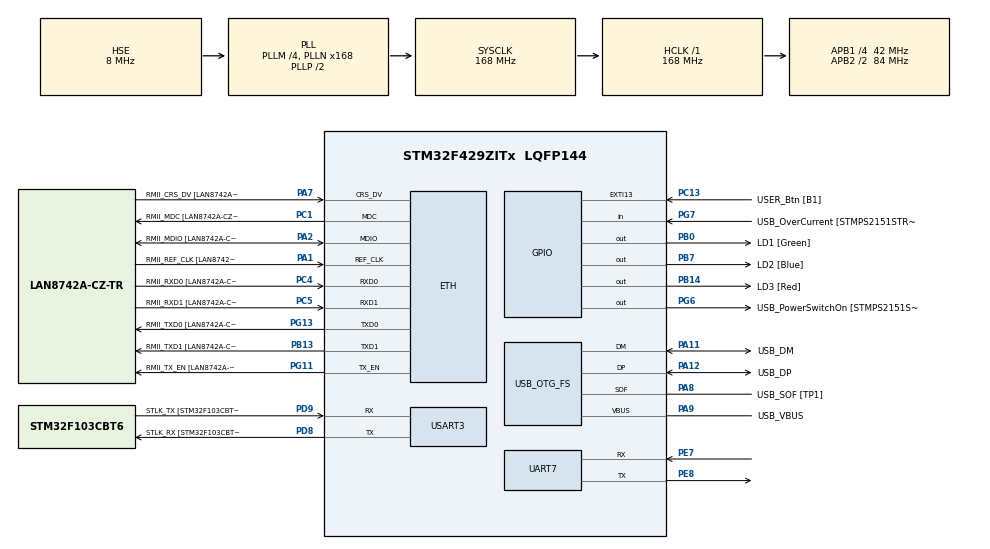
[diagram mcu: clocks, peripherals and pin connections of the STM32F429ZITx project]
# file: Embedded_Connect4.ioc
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Mcu.Family=STM32F4
FREERTOS.Queues01=app_queue,16,uint16_t,0,Dynamic,NULL,NULL;display_queue,16,uint16_t,0,Dynamic,NULL,NULL
RCC.CortexFreq_Value=168000000
FREERTOS.BinarySemaphores01=start_signal,Dynamic,NULL;reset_signal,Dynamic,NULL;game_end_anim,Dynamic,NULL;valid_anim,Dynamic,NULL
PG6.Signal=GPIO_Output
PB14.GPIO_Label=LD3 [Red]
PG6.GPIO_Label=USB_PowerSwitchOn [STMPS2151STR_EN]
PA14.GPIO_Label=TCK
RCC.SYSCLKSourceVirtual=RCC_SYSCLKSOURCE_PLLCLK
PA11.Mode=Device_Only
PB0.GPIO_Label=LD1 [Green]
PC14/OSC32_IN.Mode=LSE-External-Oscillator
PC5.Mode=RMII
PC13.GPIO_Label=USER_Btn [B1]
PB13.GPIO_Label=RMII_TXD1 [LAN8742A-CZ-TR_TXD1]
PB13.Signal=ETH_TXD1
PG13.Signal=ETH_TXD0
PD9.Mode=Asynchronous
PG11.Signal=ETH_TX_EN
RCC.SYSCLKSource=RCC_SYSCLKSOURCE_PLLCLK
ProjectManager.StackSize=0x400
VP_FREERTOS_VS_CMSIS_V2.Mode=CMSIS_V2
PA12.Signal=USB_OTG_FS_DP
ETH.PHY_Value=0
PH0/OSC_IN.Mode=HSE-External-Clock-Source
RCC.HCLKFreq_Value=168000000
RCC.APB2TimFreq_Value=168000000
PH1/OSC_OUT.Signal=RCC_OSC_OUT
PD8.Signal=USART3_TX
RCC.AHBFreq_Value=168000000
NVIC.EXTI15_10_IRQn=true\:5\:0\:false\:false\:true\:true\:true\:true
RCC.HSE_VALUE=8000000
RCC.PLLMUL=RCC_PLL_MUL9
PC4.GPIO_Label=RMII_RXD0 [LAN8742A-CZ-TR_RXD0]
PA14.Mode=Serial_Wire
VP_SYS_VS_tim1.Mode=TIM1
PA10.GPIO_Label=USB_ID
PB7.Signal=GPIO_Output
PA8.Signal=USB_OTG_FS_SOF
PG13.Mode=RMII
ETH.PHY_Name=LAN8742A_PHY_ADDRESS
PH1/OSC_OUT.Mode=HSE-External-Clock-Source
PB7.GPIO_Label=LD2 [Blue]
Mcu.Package=LQFP144
NVIC.TimeBase=TIM1_UP_TIM10_IRQn
PC14/OSC32_IN.Signal=RCC_OSC32_IN
PA2.GPIO_Label=RMII_MDIO [LAN8742A-CZ-TR_MDIO]
NVIC.TimeBaseIP=TIM1
PA10.Signal=USB_OTG_FS_ID
USB_OTG_FS.VirtualMode=Device_Only
RCC.APB2CLKDivider=RCC_HCLK_DIV2
RCC.APB1TimFreq_Value=84000000
PG11.GPIO_Label=RMII_TX_EN [LAN8742A-CZ-TR_TXEN]
PC5.Signal=ETH_RXD1
PB13.Mode=RMII
PE7.Signal=UART7_RX
PC4.Mode=RMII
FREERTOS.Tasks01=defaultTask,24,128,StartDefaultTask,Default,NULL,Dynamic,NULL,NULL;task_read,24,128,thread_handler_input,Default,NULL,Dynamic,NULL,NULL;task_app,24,128,thread_handler_app,Default,NULL,Dynamic,NULL,NULL;task_display,8,128,thread_handler_display,Default,NULL,Dynamic,NULL,NULL;task_timer,8,128,timer_handler,Default,NULL,Dynamic,NULL,NULL
PA7.Mode=RMII
PG7.Signal=GPIO_Input
PD9.GPIO_Label=STLK_TX [STM32F103CBT6_PA2]
PC13.Signal=GPXTI13
PA9.GPIO_Label=USB_VBUS
PC4.Signal=ETH_RXD0
PA11.GPIO_Label=USB_DM
PD9.Signal=USART3_RX
UART7.VirtualMode=Asynchronous
RCC.APB1CLKDivider=RCC_HCLK_DIV4
PG13.GPIO_Label=RMII_TXD0 [LAN8742A-CZ-TR_TXD0]
ETH.PhyAddress=0
PA12.GPIO_Label=USB_DP
PD8.GPIO_Label=STLK_RX [STM32F103CBT6_PA3]
PE8.Mode=Asynchronous
PA9.Mode=Activate_VBUS
PA8.GPIO_Label=USB_SOF [TP1]
ProjectManager.TargetToolchain=TrueSTUDIO
PA9.Signal=USB_OTG_FS_VBUS
RCC.USBFreq_Value=48000000
PD8.Mode=Asynchronous
PA1.Signal=ETH_REF_CLK
PB14.Signal=GPIO_Output
board=NUCLEO-F429ZI
RCC.VCOOutputFreq_Value=336000000
PH0/OSC_IN.Signal=RCC_OSC_IN
RCC.APB2Freq_Value=84000000
PA1.Mode=RMII
RCC.PRESCALERUSB=RCC_USBCLKSOURCE_PLL_DIV1_5
PE8.Signal=UART7_TX
PG7.GPIO_Label=USB_OverCurrent [STMPS2151STR_FAULT]
PA1.GPIO_Label=RMII_REF_CLK [LAN8742A-CZ-TR_REFCLK0]
PC1.GPIO_Label=RMII_MDC [LAN8742A-CZ-TR_MDC]
Mcu.Name=STM32F429ZITx
PA2.Signal=ETH_MDIO
RCC.APB2TimCLKDivider=2
RCC.48MHZClocksFreq_Value=48000000
RCC.SYSCLKFreq_VALUE=168000000
PE7.Mode=Asynchronous
ETH.MediaInterface=ETH_MEDIA_INTERFACE_RMII
PA7.GPIO_Label=RMII_CRS_DV [LAN8742A-CZ-TR_CRS_DV]
PA12.Mode=Device_Only
PC5.GPIO_Label=RMII_RXD1 [LAN8742A-CZ-TR_RXD1]
USART3.VirtualMode=VM_ASYNC
PC15/OSC32_OUT.Mode=LSE-External-Oscillator
PG11.Mode=RMII
PA11.Signal=USB_OTG_FS_DM
PA14.Signal=SYS_JTCK-SWCLK
ProjectManager.HeapSize=0x200
NVIC.TIM1_UP_TIM10_IRQn=true\:0\:0\:false\:false\:true\:false\:false\:true
RCC.HSI_VALUE=16000000
PH0/OSC_IN.GPIO_Label=MCO [STM32F103CBT6_PA8]
RCC.PLLQ=7
NVIC.PriorityGroup=NVIC_PRIORITYGROUP_4
RCC.PLLM=4
RCC.PLLN=168
PA2.Mode=RMII
PC15/OSC32_OUT.Signal=RCC_OSC32_OUT
PA8.Mode=Activate_SOF_FS
RCC.APB1Freq_Value=42000000
PB0.Signal=GPIO_Output
PC1.Signal=ETH_MDC
PC1.Mode=RMII
PA7.Signal=ETH_CRS_DV

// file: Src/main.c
/* USER CODE BEGIN Header */
/**
 ******************************************************************************
 * @file           : main.c
 * @brief          : Main program body
 ******************************************************************************
 * @attention
 *
 * <h2><center>&copy; Copyright (c) 2020 STMicroelectronics.
 * All rights reserved.</center></h2>
 *
 * This software component is licensed by ST under Ultimate Liberty license
 * SLA0044, the "License"; You may not use this file except in compliance with
 * the License. You may obtain a copy of the License at:
 *                             www.st.com/SLA0044
 *
 ******************************************************************************
 */
/* USER CODE END Header */

#include "main.h"
#include "cmsis_os.h"
#include "semphr.h"
#include "ctype.h"

/* USER CODE BEGIN Includes */
#include<stdio.h>
#include<stdlib.h>
#include<errno.h>
#include<string.h>

#include"queue.h"
#include"display_thread.h"
#include"read_thread.h"
#include"app_thread.h"
#include"timer_threads.h"
#include"leds_control.h"
#include"serial_thread.h"
/* USER CODE END Includes */

ETH_HandleTypeDef heth;

UART_HandleTypeDef huart3;
UART_HandleTypeDef huart7;

PCD_HandleTypeDef hpcd_USB_OTG_FS;

/* Definitions for defaultTask */
osThreadId_t serialTaskHandle;
const osThreadAttr_t serialTask_attributes = { .name = "serialTask", .priority =
		(osPriority_t) osPriorityNormal, .stack_size = 128 * 4 };
/* Definitions for task_read */
osThreadId_t task_readHandle;
const osThreadAttr_t task_read_attributes = { .name = "task_read", .priority =
		(osPriority_t) osPriorityNormal, .stack_size = 128 * 4 };
/* Definitions for task_app */
osThreadId_t task_appHandle;
const osThreadAttr_t task_app_attributes = { .name = "task_app", .priority =
		(osPriority_t) osPriorityNormal, .stack_size = 128 * 4 };
/* Definitions for task_display */
osThreadId_t task_displayHandle;
const osThreadAttr_t task_display_attributes = { .name = "task_display",
		.priority = (osPriority_t) osPriorityNormal, .stack_size = 128 * 4 };
/* Definitions for task_timer */
osThreadId_t task_timerHandle;
const osThreadAttr_t task_timer_attributes = { .name = "task_timer", .priority =
		(osPriority_t) osPriorityNormal, .stack_size = 128 * 4 };
/* Definitions for app_queue */
osMessageQueueId_t app_queueHandle;
const osMessageQueueAttr_t app_queue_attributes = { .name = "app_queue" };
/* Definitions for display_queue */
osMessageQueueId_t display_queueHandle;
const osMessageQueueAttr_t display_queue_attributes =
		{ .name = "display_queue" };
/* Definitions for send */
osMessageQueueId_t sendToSerialHandle;
const osMessageQueueAttr_t sendToSerial_attributes = { .name = "sendToSerial" };
/* Definitions for read */
osMessageQueueId_t readFromSerialHandle;
const osMessageQueueAttr_t readFromSerial_attributes = { .name =
		"readFromSerial" };
/* Definitions for start_signal */
SemaphoreHandle_t start_signalHandle;

/* Definitions for reset_signal */
SemaphoreHandle_t reset_signalHandle;

/* Definitions for game_end_anim */
SemaphoreHandle_t game_end_animHandle;

/* Definitions for valid_anim */
SemaphoreHandle_t valid_animHandle;

/* USER CODE BEGIN PV */
osMutexId_t timer_mutexHandle;
const osMutexAttr_t timer_mutex_attributes = { .name = "timer_mutex" };
/* USER CODE END PV */

void SystemClock_Config(void);
static void MX_GPIO_Init(void);
static void MX_ETH_Init(void);
static void MX_USART3_UART_Init(void);
static void MX_UART7_Init(void);
static void MX_USB_OTG_FS_PCD_Init(void);
static void MX_NVIC_Init(void);
void StartDefaultTask(void *argument);

int main(void) {

	/* MCU Configuration--------------------------------------------------------*/

	/* Reset of all peripherals, Initializes the Flash interface and the Systick. */
	HAL_Init();

	/* Configure the system clock */
	SystemClock_Config();

	/* Initialize all configured peripherals */
	MX_GPIO_Init();
	MX_ETH_Init();
	MX_USART3_UART_Init();
	MX_UART7_Init();
	MX_USB_OTG_FS_PCD_Init();
	/* USER CODE BEGIN 2 */
	MX_NVIC_Init();
	/* USER CODE END 2 */

	/* Init scheduler */
	osKernelInitialize();

	/* Create the semaphores(s) */
	/* creation of start_signal */
	start_signalHandle = xSemaphoreCreateBinary();

	/* creation of reset_signal */
	reset_signalHandle = xSemaphoreCreateBinary();

	/* creation of game_end_anim */
	game_end_animHandle = xSemaphoreCreateBinary();

	/* creation of valid_anim */
	valid_animHandle = xSemaphoreCreateBinary();

	/* Create the queue(s) */
	/* creation of app_queue */
	app_queueHandle = osMessageQueueNew(16, sizeof(Msg_t),
			&app_queue_attributes);

	/* creation of display_queue */
	display_queueHandle = osMessageQueueNew(16, sizeof(Msg_t),
			&display_queue_attributes);

	/* USER CODE BEGIN RTOS_QUEUES */
	/* add queues, ... */
	sendToSerialHandle = osMessageQueueNew(16, SIZE_OF_LED_COMMAND_BUFFER,
			&sendToSerial_attributes);

	/* creation of display_queue */
	readFromSerialHandle = osMessageQueueNew(16, SIZE_OF_PLAYER_COMMAND_BUFFER,
			&readFromSerial_attributes);
	/* USER CODE END RTOS_QUEUES */

	/* Create the thread(s) */
	/* creation de serialTask */
	serialTaskHandle = osThreadNew((void*) sendToSerialTask, NULL,
			&serialTask_attributes);

	/* creation of task_read */
	task_readHandle = osThreadNew((void*) thread_handler_input, NULL,
			&task_read_attributes);

	/* creation of task_app */
	task_appHandle = osThreadNew((void*) thread_handler_app, NULL,
			&task_app_attributes);

	/* creation of task_display */
	task_displayHandle = osThreadNew((void*) thread_handler_display, NULL,
			&task_display_attributes);

	/* creation of task_timer */
	task_timerHandle = osThreadNew((void*) timer_handler, NULL,
			&task_timer_attributes);

	/* Start scheduler */
	osKernelStart();

	/* We should never get here as control is now taken by the scheduler */
	/* Infinite loop */
	while (1) {
		osDelay(10000);
	}
}

void SystemClock_Config(void) {
	RCC_OscInitTypeDef RCC_OscInitStruct = { 0 };
	RCC_ClkInitTypeDef RCC_ClkInitStruct = { 0 };

	/** Configure the main internal regulator output voltage
	 */
	__HAL_RCC_PWR_CLK_ENABLE()
	;
	__HAL_PWR_VOLTAGESCALING_CONFIG(PWR_REGULATOR_VOLTAGE_SCALE1);
	/** Initializes the CPU, AHB and APB busses clocks
	 */
	RCC_OscInitStruct.OscillatorType = RCC_OSCILLATORTYPE_HSE;
	RCC_OscInitStruct.HSEState = RCC_HSE_BYPASS;
	RCC_OscInitStruct.PLL.PLLState = RCC_PLL_ON;
	RCC_OscInitStruct.PLL.PLLSource = RCC_PLLSOURCE_HSE;
	RCC_OscInitStruct.PLL.PLLM = 4;
	RCC_OscInitStruct.PLL.PLLN = 168;
	RCC_OscInitStruct.PLL.PLLP = RCC_PLLP_DIV2;
	RCC_OscInitStruct.PLL.PLLQ = 7;
	if (HAL_RCC_OscConfig(&RCC_OscInitStruct) != HAL_OK) {
		Error_Handler();
	}
	/** Initializes the CPU, AHB and APB busses clocks
	 */
	RCC_ClkInitStruct.ClockType = RCC_CLOCKTYPE_HCLK | RCC_CLOCKTYPE_SYSCLK
			| RCC_CLOCKTYPE_PCLK1 | RCC_CLOCKTYPE_PCLK2;
	RCC_ClkInitStruct.SYSCLKSource = RCC_SYSCLKSOURCE_PLLCLK;
	RCC_ClkInitStruct.AHBCLKDivider = RCC_SYSCLK_DIV1;
	RCC_ClkInitStruct.APB1CLKDivider = RCC_HCLK_DIV4;
	RCC_ClkInitStruct.APB2CLKDivider = RCC_HCLK_DIV2;

	if (HAL_RCC_ClockConfig(&RCC_ClkInitStruct, FLASH_LATENCY_5) != HAL_OK) {
		Error_Handler();
	}
}

static void MX_ETH_Init(void) {

	heth.Instance = ETH;
	heth.Init.AutoNegotiation = ETH_AUTONEGOTIATION_ENABLE;
	heth.Init.PhyAddress = LAN8742A_PHY_ADDRESS;
	heth.Init.MACAddr[0] = 0x00;
	heth.Init.MACAddr[1] = 0x80;
	heth.Init.MACAddr[2] = 0xE1;
	heth.Init.MACAddr[3] = 0x00;
	heth.Init.MACAddr[4] = 0x00;
	heth.Init.MACAddr[5] = 0x00;
	heth.Init.RxMode = ETH_RXPOLLING_MODE;
	heth.Init.ChecksumMode = ETH_CHECKSUM_BY_HARDWARE;
	heth.Init.MediaInterface = ETH_MEDIA_INTERFACE_RMII;

	if (HAL_ETH_Init(&heth) != HAL_OK) {
		Error_Handler();
	}

}

static void MX_USART3_UART_Init(void) {

	huart3.Instance = USART3;
	huart3.Init.BaudRate = 115200;
	huart3.Init.WordLength = UART_WORDLENGTH_8B;
	huart3.Init.StopBits = UART_STOPBITS_1;
	huart3.Init.Parity = UART_PARITY_NONE;
	huart3.Init.Mode = UART_MODE_TX_RX;
	huart3.Init.HwFlowCtl = UART_HWCONTROL_NONE;
	huart3.Init.OverSampling = UART_OVERSAMPLING_16;
	if (HAL_UART_Init(&huart3) != HAL_OK) {
		Error_Handler();
	}

}

static void MX_USB_OTG_FS_PCD_Init(void) {

	hpcd_USB_OTG_FS.Instance = USB_OTG_FS;
	hpcd_USB_OTG_FS.Init.dev_endpoints = 4;
	hpcd_USB_OTG_FS.Init.speed = PCD_SPEED_FULL;
	hpcd_USB_OTG_FS.Init.dma_enable = DISABLE;
	hpcd_USB_OTG_FS.Init.phy_itface = PCD_PHY_EMBEDDED;
	hpcd_USB_OTG_FS.Init.Sof_enable = ENABLE;
	hpcd_USB_OTG_FS.Init.low_power_enable = DISABLE;
	hpcd_USB_OTG_FS.Init.lpm_enable = DISABLE;
	hpcd_USB_OTG_FS.Init.vbus_sensing_enable = ENABLE;
	hpcd_USB_OTG_FS.Init.use_dedicated_ep1 = DISABLE;
	if (HAL_PCD_Init(&hpcd_USB_OTG_FS) != HAL_OK) {
		Error_Handler();
	}

}

static void MX_GPIO_Init(void) {
	GPIO_InitTypeDef GPIO_InitStruct = { 0 };

	/* GPIO Ports Clock Enable */
	__HAL_RCC_GPIOC_CLK_ENABLE()
	;
	__HAL_RCC_GPIOH_CLK_ENABLE()
	;
	__HAL_RCC_GPIOA_CLK_ENABLE()
	;
	__HAL_RCC_GPIOB_CLK_ENABLE()
	;
	__HAL_RCC_GPIOD_CLK_ENABLE()
	;
	__HAL_RCC_GPIOE_CLK_ENABLE()
	;
	__HAL_RCC_GPIOG_CLK_ENABLE()
	;

	/*Configure GPIO pin Output Level */
	HAL_GPIO_WritePin(GPIOB, LD1_Pin | LD3_Pin | LD2_Pin, GPIO_PIN_RESET);

	/*Configure GPIO pin Output Level */
	HAL_GPIO_WritePin(USB_PowerSwitchOn_GPIO_Port, USB_PowerSwitchOn_Pin,
			GPIO_PIN_RESET);

	/*Configure GPIO pin : USER_Btn_Pin */
	GPIO_InitStruct.Pin = USER_Btn_Pin;
	GPIO_InitStruct.Mode = GPIO_MODE_IT_RISING;
	GPIO_InitStruct.Pull = GPIO_NOPULL;
	HAL_GPIO_Init(USER_Btn_GPIO_Port, &GPIO_InitStruct);

	/*Configure GPIO pins : LD1_Pin LD3_Pin LD2_Pin */
	GPIO_InitStruct.Pin = LD1_Pin | LD3_Pin | LD2_Pin;
	GPIO_InitStruct.Mode = GPIO_MODE_OUTPUT_PP;
	GPIO_InitStruct.Pull = GPIO_NOPULL;
	GPIO_InitStruct.Speed = GPIO_SPEED_FREQ_LOW;
	HAL_GPIO_Init(GPIOB, &GPIO_InitStruct);

	/*Configure GPIO pin : USB_PowerSwitchOn_Pin */
	GPIO_InitStruct.Pin = USB_PowerSwitchOn_Pin;
	GPIO_InitStruct.Mode = GPIO_MODE_OUTPUT_PP;
	GPIO_InitStruct.Pull = GPIO_NOPULL;
	GPIO_InitStruct.Speed = GPIO_SPEED_FREQ_LOW;
	HAL_GPIO_Init(USB_PowerSwitchOn_GPIO_Port, &GPIO_InitStruct);

	/*Configure GPIO pin : USB_OverCurrent_Pin */
	GPIO_InitStruct.Pin = USB_OverCurrent_Pin;
	GPIO_InitStruct.Mode = GPIO_MODE_INPUT;
	GPIO_InitStruct.Pull = GPIO_NOPULL;
	HAL_GPIO_Init(USB_OverCurrent_GPIO_Port, &GPIO_InitStruct);

}

/* USER CODE BEGIN 4 */

static void MX_NVIC_Init(void) {
	/* EXTI15_10_IRQn interrupt configuration */
	HAL_NVIC_SetPriority(EXTI15_10_IRQn, 0, 0);
	HAL_NVIC_EnableIRQ(EXTI15_10_IRQn);
}
static int last_message_tick = 0;
static uint8_t trame_type = 0;
void HAL_GPIO_EXTI_Callback(uint16_t GPIO_Pin) {
	int message_tick = HAL_GetTick();
	if (message_tick - last_message_tick <= 1000){
		return;
	}
	last_message_tick = message_tick;
	char message[60] = "Mooooordu ! Mordu ! Mordu ! Mordu !\0";
	char message_buffer[60];
	char buffer[62];
	int message_size = 0;
	if (trame_type == 0) {
		int k = 0;
		while (message[k] != '\0') {
			message_buffer[k] = message[k];
			k += 1;
			message_size +=1;
		}
		message_buffer[k] = '\0';
		trame_type += 1;
	} else if (trame_type == 1) {
		int i = 0;
		while (message[i] != '\0') {
			if (message[i] >= 97 && message[i] <= 122) {
				message_buffer[i] = message[i] - 32;
			} else {
				message_buffer[i] = message[i];
			}
			i += 1;
			message_size +=1;
		}
		message_buffer[i] = '\0';
		trame_type += 1;
	} else if (trame_type == 2) {
		int j = 0;
		while (message[j] != '\0') {
			if (message[j] >= 65 && message[j] <= 90) {
				message_buffer[j] = message[j] + 32;
			} else {
				message_buffer[j] = message[j];
			}
			j += 1;
			message_size +=1;
		}
		message_buffer[j] = '\0';
		trame_type +=1 ;
	} else if (trame_type == 3) {
		int l = 0;
		int m = 0;
		while (message[m] != '\0') {
			m +=1;
		}
		m -= 1;
		while (m >= 0) {
			message_buffer[l] = message[m];
			l += 1;
			m -= 1;
			message_size +=1;
		}
		message_buffer[l] = '\0';
		trame_type = 0;
	}
	char beg = 'd';
	char end = '\n';
	int i = 1;
	buffer[0] = beg;
	while (message_buffer[i - 1] != '\0') {
		buffer[i] = message_buffer[i - 1];
		i += 1;
	}
	buffer[i] = end;
	if (GPIO_Pin == USER_Btn_Pin) {
		HAL_UART_Transmit(&huart7, (uint8_t*)buffer, message_size + 2, 100);
	}
}

/* USER CODE END 4 */

void HAL_TIM_PeriodElapsedCallback(TIM_HandleTypeDef *htim) {
	if (htim->Instance == TIM1) {
		HAL_IncTick();
	}
}

static void MX_UART7_Init(void) {

	huart7.Instance = UART7;
	huart7.Init.BaudRate = 115200;
	huart7.Init.WordLength = UART_WORDLENGTH_8B;
	huart7.Init.StopBits = UART_STOPBITS_1;
	huart7.Init.Parity = UART_PARITY_NONE;
	huart7.Init.Mode = UART_MODE_TX_RX;
	huart7.Init.HwFlowCtl = UART_HWCONTROL_NONE;
	huart7.Init.OverSampling = UART_OVERSAMPLING_16;
	if (HAL_UART_Init(&huart7) != HAL_OK) {
		Error_Handler();
	}

}

void Error_Handler(void) {
}

/************************ (C) COPYRIGHT STMicroelectronics *****END OF FILE****/
